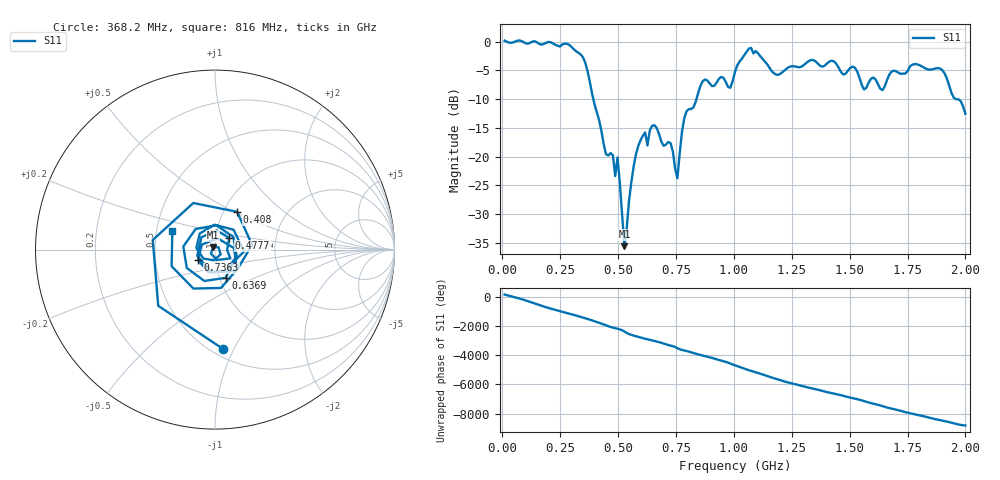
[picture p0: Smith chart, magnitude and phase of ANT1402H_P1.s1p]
!Created with skrf (http://scikit-rf.org).
# Hz S RI R 50.0
!freq ReS11 ImS11
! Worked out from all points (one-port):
!   201 points, 10 MHz to 2 GHz, reference 50 ohm
!   lowest |S11| = -35.6 dB at 527.4 MHz (marker M1), VSWR 1.03, Z = 48.9 + j1.17 ohm
!   |S11| at or under -10 dB: 393.2 MHz to 838.6 MHz (445.4 MHz wide, 72.3 % of centre); 1.959 GHz to end of sweep
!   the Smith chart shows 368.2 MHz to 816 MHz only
!   S11 on the Smith chart (normalised r, x): 368.2 MHz: 0.57, -0.91; 408 MHz: 1.16, +0.52; 477.6 MHz: 1.16, +0.15; 636.9 MHz: 1.07, -0.35; 736.4 MHz: 0.82, -0.10; 816 MHz: 0.60, +0.13
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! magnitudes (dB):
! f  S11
! 10 MHz  0.2
! 258.8 MHz  -0.5
! 368.2 MHz  -5.1
! 408 MHz  -12.2
! 447.8 MHz  -19.6
! 477.6 MHz  -19.8
! 487.6 MHz  -23.4
! 497.6 MHz  -20.2
! 507.5 MHz  -24.5
! 527.4 MHz  -35.6
! 577.1 MHz  -19.6
! 626.9 MHz  -18.1
! 636.9 MHz  -15.5
! 736.4 MHz  -19.0
! 756.2 MHz  -23.8
! 786.1 MHz  -13.3
! 816 MHz  -11.7
! 865.7 MHz  -6.9
! 985.1 MHz  -8.0
! 1.005 GHz  -5.3
! 1.075 GHz  -1.1
! 1.184 GHz  -5.8
! 1.254 GHz  -4.3
! 1.502 GHz  -4.6
! 1.562 GHz  -8.3
! 1.751 GHz  -5.1
! 1.901 GHz  -5.0
! 2 GHz  -12.6
